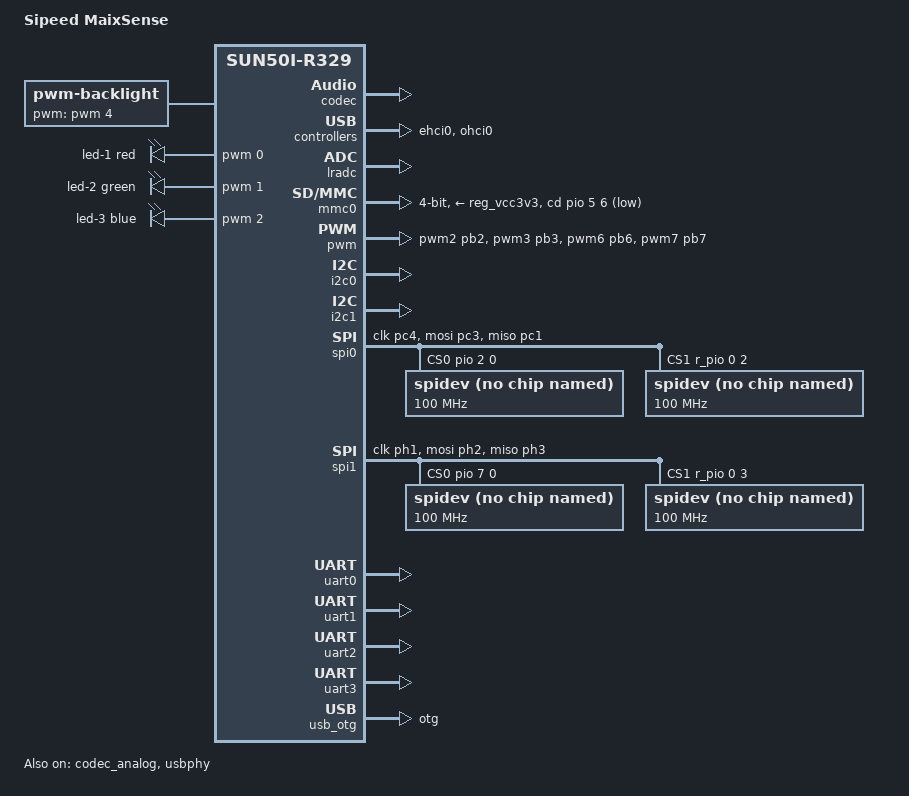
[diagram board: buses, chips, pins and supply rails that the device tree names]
// SPDX-License-Identifier: (GPL-2.0+ OR MIT)
// Copyright (c) 2021 Sipeed

/dts-v1/;

#include "sun50i-r329-maix-iia.dtsi"

#include <dt-bindings/input/input.h>
#include <dt-bindings/leds/common.h>
#include <dt-bindings/pwm/pwm.h>

/ {
	model = "Sipeed MaixSense";
	compatible = "sipeed,maixsense", "sipeed,maix-iia",
		     "allwinner,sun50i-r329";

	aliases {
		serial0 = &uart0;
        	serial1 = &uart1;
        	serial2 = &uart2;
        	serial3 = &uart3;
        	i2c0 = &i2c0;
		i2c1 = &i2c1;
		spi0 = &spi0;
		spi1 = &spi1;
		mmc0 = &mmc0;
	};

	chosen {
		stdout-path = "serial0:115200n8";
	};

	backlight: backlight {
		compatible = "pwm-backlight";
		pwms = <&pwm 4 50000 PWM_POLARITY_INVERTED>;
		brightness-levels = <0 16 18 20 22 24 26 29 32 35 38 42 46 51 56 62 68 75 83 91 100>;
		default-brightness-level = <15>;
	};

	leds {
		compatible = "pwm-leds";

		led-1 {
			color = <LED_COLOR_ID_RED>;
	                function = LED_FUNCTION_INDICATOR;
			function-enumerator = <1>;
			pwms = <&pwm 0 50000 PWM_POLARITY_INVERTED>;
			max-brightness = <255>;
			linux,default-trigger = "heartbeat";
		};

		led-2 {
			color = <LED_COLOR_ID_GREEN>;
			function = LED_FUNCTION_INDICATOR;
			function-enumerator = <2>;
			pwms = <&pwm 1 50000 PWM_POLARITY_INVERTED>;
			max-brightness = <255>;
		};

		led-3 {
			color = <LED_COLOR_ID_BLUE>;
			function = LED_FUNCTION_INDICATOR;
			function-enumerator = <3>;
			pwms = <&pwm 2 50000 PWM_POLARITY_INVERTED>;
			max-brightness = <255>;
		};
	};
};

&codec {
	status = "okay";
	allwinner,audio-routing =
		"Speaker", "SPKL",
		"MIC1", "Mic",
		"MIC2", "Mic",
		"Mic", "MBIAS",
		"Mic", "MBIAS";
};

&codec_analog {
	status = "okay";
};

&ehci0 {
	status = "okay";
};

&lradc {
	status = "okay";

	button-155 {
		label = "Right";
		linux,code = <KEY_RIGHT>;
		channel = <0>;
		voltage = <155013>;
	};

	button-310 {
		label = "Left";
		linux,code = <KEY_LEFT>;
		channel = <0>;
		voltage = <309828>;
	};

	button-463 {
		label = "B";
		linux,code = <KEY_B>;
		channel = <0>;
		voltage = <463317>;
	};

	button-599 {
		label = "A";
		linux,code = <KEY_A>;
		channel = <0>;
		voltage = <599420>;
	};
};

&mmc0 {
	pinctrl-names = "default";
	pinctrl-0 = <&mmc0_pf_pins>;

	vmmc-supply = <&reg_vcc3v3>;
	bus-width = <4>;
	cd-gpios = <&pio 5 6 GPIO_ACTIVE_LOW>; /* PF6 */
	status = "okay";
};

&ohci0 {
	status = "okay";
};

&pwm {
	pinctrl-names = "default";
	pinctrl-0 = <&pwm2_pb2>, <&pwm3_pb3>, <&pwm6_pb6>, <&pwm7_pb7>;
	status = "okay";
};

&i2c0 {
	status = "okay";
};

&i2c1 {
	status = "okay";
};

&spi0 {
	pinctrl-names = "default";
	pinctrl-0 = <&spi0_clk_pc4>, <&spi0_mosi_pc3>, <&spi0_miso_pc1>;
	//<&spi0_cs_pc0>, 
	status = "okay";

	//ICM_20602 ICM_20689_CS
	cs-gpios = <&pio 2 0 GPIO_ACTIVE_HIGH>,<&r_pio 0 2 GPIO_ACTIVE_HIGH>;
	spidev@0 {
		compatible = "spidev";
		/* spi default max clock 100Mhz */
		spi-max-frequency = <100000000>;
		reg = <0>;
	};

	spidev@1 {
		compatible = "spidev";
		/* spi default max clock 100Mhz */
		spi-max-frequency = <100000000>;
		reg = <1>;
	};

};

&spi1 {
	pinctrl-names = "default";
	pinctrl-0 = <&spi1_clk_ph1>, <&spi1_mosi_ph2>, <&spi1_miso_ph3>;
	//<&spi1_cs_ph0>, 
	status = "okay";
	//MS5611 PMW3901
	cs-gpios = <&pio 7 0 GPIO_ACTIVE_HIGH>,<&r_pio 0 3 GPIO_ACTIVE_HIGH>;
	spidev@0 {
		compatible = "spidev";
		/* spi default max clock 100Mhz */
		spi-max-frequency = <100000000>;
		reg = <0>;
	};

	spidev@1 {
		compatible = "spidev";
		/* spi default max clock 100Mhz */
		spi-max-frequency = <100000000>;
		reg = <1>;
	};
};
&uart0 {
	pinctrl-names = "default";
	pinctrl-0 = <&uart0_pb_pins>;
	status = "okay";
};

&uart1 {
	pinctrl-names = "default";
	pinctrl-0 = <&uart1_pg_pins>;
	status = "okay";
};

&uart2 {
	pinctrl-names = "default";
	pinctrl-0 = <&uart2_pb_pins>;
	status = "okay";
};

&uart3 {
	pinctrl-names = "default";
	pinctrl-0 = <&uart3_ph_pins>;
	status = "okay";
};
&usb_otg {
	dr_mode = "otg";
	status = "okay";
};

&usbphy {
	usb0_id_det-gpios = <&pio 1 3 GPIO_ACTIVE_HIGH>; /* PB3 */
	status = "okay";
};
